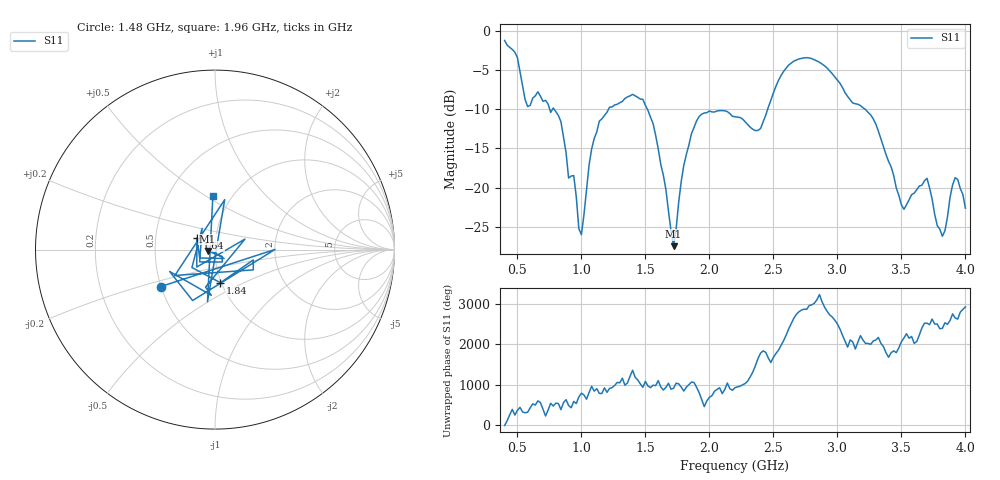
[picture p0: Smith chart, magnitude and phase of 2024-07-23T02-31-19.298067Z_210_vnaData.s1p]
!Created with skrf (http://scikit-rf.org).
# Hz S RI R 50.0
!freq ReS11 ImS11
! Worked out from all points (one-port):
!   181 points, 400 MHz to 4 GHz, reference 50 ohm
!   lowest |S11| = -27.5 dB at 1.72 GHz (marker M1), VSWR 1.09, Z = 46 - j0.722 ohm
!   |S11| at or under -10 dB: 786 MHz to 1.212 GHz (426.5 MHz wide, 42.7 % of centre); 1.515 GHz to 2.456 GHz (940.9 MHz wide, 47.4 % of centre); 3.215 GHz to end of sweep (the widest 3 of 4)
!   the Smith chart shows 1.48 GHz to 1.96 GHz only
!   S11 on the Smith chart (normalised r, x): 1.48 GHz: 0.50, -0.24; 1.64 GHz: 0.81, +0.11; 1.84 GHz: 0.99, -0.38; 1.96 GHz: 0.82, +0.54
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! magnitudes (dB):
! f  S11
! 400 MHz  -1.3
! 500 MHz  -3.4
! 580 MHz  -9.7
! 660 MHz  -7.8
! 860 MHz  -13.6
! 900 MHz  -18.8
! 940 MHz  -18.5
! 1 GHz  -26.0
! 1.1 GHz  -13.7
! 1.3 GHz  -9.2
! 1.48 GHz  -8.8
! 1.64 GHz  -18.4
! 1.72 GHz  -27.5
! 1.76 GHz  -21.9
! 1.84 GHz  -14.6
! 1.96 GHz  -10.5
! 2.2 GHz  -11.0
! 2.4 GHz  -12.5
! 2.66 GHz  -3.9
! 2.88 GHz  -4.3
! 3.1 GHz  -8.8
! 3.28 GHz  -11.2
! 3.5 GHz  -22.2
! 3.56 GHz  -21.6
! 3.7 GHz  -18.8
! 3.82 GHz  -26.2
! 3.92 GHz  -18.7
! 4 GHz  -22.6
